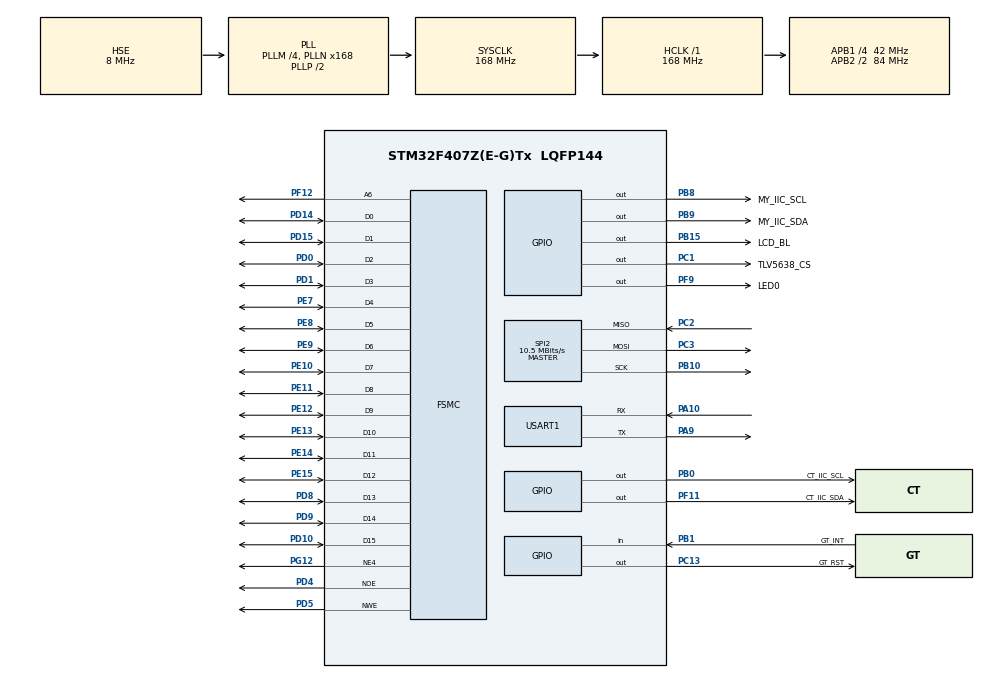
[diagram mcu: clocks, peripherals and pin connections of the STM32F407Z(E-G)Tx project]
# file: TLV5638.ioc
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FSMC.AddressSetupTime4=2
FSMC.DataSetupTime4=5
FSMC.ExtendedAddressSetupTime4=0
FSMC.ExtendedDataSetupTime4=3
FSMC.ExtendedMode4=FSMC_EXTENDED_MODE_ENABLE
Mcu.Family=STM32F4
Mcu.Name=STM32F407Z(E-G)Tx
Mcu.Package=LQFP144
NVIC.PriorityGroup=NVIC_PRIORITYGROUP_4
NVIC.TIM3_IRQn=true\:1\:0\:true\:false\:true\:true\:true
NVIC.TIM4_IRQn=true\:2\:0\:true\:false\:true\:true\:true
NVIC.TIM5_IRQn=true\:3\:0\:true\:false\:true\:true\:true
PA10.Mode=Asynchronous
PA10.Signal=USART1_RX
PA13.Mode=Serial_Wire
PA13.Signal=SYS_JTMS-SWDIO
PA14.Mode=Serial_Wire
PA14.Signal=SYS_JTCK-SWCLK
PA9.Mode=Asynchronous
PA9.Signal=USART1_TX
PB0.GPIO_Label=CT_IIC_SCL
PB0.GPIO_PuPd=GPIO_PULLUP
PB0.GPIO_Speed=GPIO_SPEED_FREQ_VERY_HIGH
PB0.PinState=GPIO_PIN_SET
PB0.Signal=GPIO_Output
PB1.GPIO_Label=GT_INT
PB1.GPIO_PuPd=GPIO_PULLUP
PB1.Signal=GPIO_Input
PB10.Mode=Full_Duplex_Master
PB10.Signal=SPI2_SCK
PB15.GPIO_Label=LCD_BL
PB15.Signal=GPIO_Output
PB8.GPIO_Label=MY_IIC_SCL
PB8.GPIO_PuPd=GPIO_PULLUP
PB8.GPIO_Speed=GPIO_SPEED_FREQ_HIGH
PB8.PinState=GPIO_PIN_SET
PB8.Signal=GPIO_Output
PB9.GPIO_Label=MY_IIC_SDA
PB9.GPIO_PuPd=GPIO_PULLUP
PB9.GPIO_Speed=GPIO_SPEED_FREQ_HIGH
PB9.PinState=GPIO_PIN_SET
PB9.Signal=GPIO_Output
PC1.GPIO_Label=TLV5638_CS
PC1.GPIO_PuPd=GPIO_PULLUP
PC1.GPIO_Speed=GPIO_SPEED_FREQ_VERY_HIGH
PC1.PinState=GPIO_PIN_SET
PC1.Signal=GPIO_Output
PC13-ANTI_TAMP.GPIO_Label=GT_RST
PC13-ANTI_TAMP.GPIO_PuPd=GPIO_PULLUP
PC13-ANTI_TAMP.GPIO_Speed=GPIO_SPEED_FREQ_LOW
PC13-ANTI_TAMP.PinState=GPIO_PIN_RESET
PC13-ANTI_TAMP.Signal=GPIO_Output
PC2.Mode=Full_Duplex_Master
PC2.Signal=SPI2_MISO
PC3.Mode=Full_Duplex_Master
PC3.Signal=SPI2_MOSI
PD0.Signal=FSMC_D2_DA2
PD1.Signal=FSMC_D3_DA3
PD10.Signal=FSMC_D15_DA15
PD14.Signal=FSMC_D0_DA0
PD15.Signal=FSMC_D1_DA1
PD4.Signal=FSMC_NOE
PD5.Signal=FSMC_NWE
PD8.Signal=FSMC_D13_DA13
PD9.Signal=FSMC_D14_DA14
PE10.Signal=FSMC_D7_DA7
PE11.Signal=FSMC_D8_DA8
PE12.Signal=FSMC_D9_DA9
PE13.Signal=FSMC_D10_DA10
PE14.Signal=FSMC_D11_DA11
PE15.Signal=FSMC_D12_DA12
PE7.Signal=FSMC_D4_DA4
PE8.Signal=FSMC_D5_DA5
PE9.Signal=FSMC_D6_DA6
PF11.GPIO_Label=CT_IIC_SDA
PF11.GPIO_ModeDefaultOutputPP=GPIO_MODE_OUTPUT_PP
PF11.GPIO_PuPd=GPIO_PULLUP
PF11.GPIO_Speed=GPIO_SPEED_FREQ_VERY_HIGH
PF11.PinState=GPIO_PIN_SET
PF11.Signal=GPIO_Output
PF12.Signal=FSMC_A6
PF9.GPIO_Label=LED0
PF9.PinState=GPIO_PIN_SET
PF9.Signal=GPIO_Output
PG12.Mode=NorPsramChipSelect4_4
PG12.Signal=FSMC_NE4
PH0-OSC_IN.Mode=HSE-External-Oscillator
PH0-OSC_IN.Signal=RCC_OSC_IN
PH1-OSC_OUT.Mode=HSE-External-Oscillator
PH1-OSC_OUT.Signal=RCC_OSC_OUT
ProjectManager.HeapSize=0x200
ProjectManager.StackSize=0x400
ProjectManager.TargetToolchain=SW4STM32
RCC.48MHZClocksFreq_Value=84000000
RCC.AHBFreq_Value=168000000
RCC.APB1CLKDivider=RCC_HCLK_DIV4
RCC.APB1Freq_Value=42000000
RCC.APB1TimFreq_Value=84000000
RCC.APB2CLKDivider=RCC_HCLK_DIV2
RCC.APB2Freq_Value=84000000
RCC.APB2TimFreq_Value=168000000
RCC.CortexFreq_Value=168000000
RCC.HCLKFreq_Value=168000000
RCC.HSE_VALUE=8000000
RCC.HSI_VALUE=16000000
RCC.LSE_VALUE=32768
RCC.PLLM=4
RCC.PLLN=168
RCC.PLLSourceVirtual=RCC_PLLSOURCE_HSE
RCC.SYSCLKFreq_VALUE=168000000
RCC.SYSCLKSource=RCC_SYSCLKSOURCE_PLLCLK
RCC.VCOOutputFreq_Value=336000000
SH.FSMC_A6.0=FSMC_A6,A6_4
SH.FSMC_D0_DA0.0=FSMC_D0,16b-d4
SH.FSMC_D10_DA10.0=FSMC_D10,16b-d4
SH.FSMC_D11_DA11.0=FSMC_D11,16b-d4
SH.FSMC_D12_DA12.0=FSMC_D12,16b-d4
SH.FSMC_D13_DA13.0=FSMC_D13,16b-d4
SH.FSMC_D14_DA14.0=FSMC_D14,16b-d4
SH.FSMC_D15_DA15.0=FSMC_D15,16b-d4
SH.FSMC_D1_DA1.0=FSMC_D1,16b-d4
SH.FSMC_D2_DA2.0=FSMC_D2,16b-d4
SH.FSMC_D3_DA3.0=FSMC_D3,16b-d4
SH.FSMC_D4_DA4.0=FSMC_D4,16b-d4
SH.FSMC_D5_DA5.0=FSMC_D5,16b-d4
SH.FSMC_D6_DA6.0=FSMC_D6,16b-d4
SH.FSMC_D7_DA7.0=FSMC_D7,16b-d4
SH.FSMC_D8_DA8.0=FSMC_D8,16b-d4
SH.FSMC_D9_DA9.0=FSMC_D9,16b-d4
SH.FSMC_NOE.0=FSMC_NOE,Lcd4
SH.FSMC_NWE.0=FSMC_NWE,Lcd4
SPI2.BaudRatePrescaler=SPI_BAUDRATEPRESCALER_4
SPI2.CLKPhase=SPI_PHASE_2EDGE
SPI2.CalculateBaudRate=10.5 MBits/s
SPI2.Direction=SPI_DIRECTION_2LINES
SPI2.Mode=SPI_MODE_MASTER
SPI2.VirtualType=VM_MASTER
TIM3.AutoReloadPreload=TIM_AUTORELOAD_PRELOAD_ENABLE
TIM3.Period=999
TIM3.Prescaler=83
TIM4.AutoReloadPreload=TIM_AUTORELOAD_PRELOAD_ENABLE
TIM4.Period=999
TIM4.Prescaler=839
TIM5.AutoReloadPreload=TIM_AUTORELOAD_PRELOAD_ENABLE
TIM5.Period=8399
TIM5.Prescaler=4999
USART1.VirtualMode=VM_ASYNC
VP_CRC_VS_CRC.Mode=CRC_Activate
VP_TIM3_VS_ClockSourceINT.Mode=Internal
VP_TIM4_VS_ClockSourceINT.Mode=Internal
VP_TIM5_VS_ClockSourceINT.Mode=Internal
board=custom

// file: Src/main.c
/* USER CODE BEGIN Header */
/**
  ******************************************************************************
  * @file           : main.c
  * @brief          : Main program body
  ******************************************************************************
  * @attention
  *
  * <h2><center>&copy; Copyright (c) 2020 STMicroelectronics.
  * All rights reserved.</center></h2>
  *
  * This software component is licensed by ST under BSD 3-Clause license,
  * the "License"; You may not use this file except in compliance with the
  * License. You may obtain a copy of the License at:
  *                        opensource.org/licenses/BSD-3-Clause
  *
  ******************************************************************************
  */
/* USER CODE END Header */
#include "main.h"
#include "crc.h"
#include "spi.h"
#include "tim.h"
#include "usart.h"
#include "gpio.h"
#include "fsmc.h"

/* USER CODE BEGIN Includes */
#include <stdio.h>
#include "retarget.h"
#include "ILI93xx.h"
#include "GUI.h"
#include "touch.h"
#include "emwinDemo.h"
#include "DIALOG.h"
#include "TLV5638.h"
#include <math.h>
/* USER CODE END Includes */

/* USER CODE BEGIN PD */
#define PI 3.1415926
/* USER CODE END PD */

/* USER CODE BEGIN PV */
uint16_t SineWave_Value[256];
/* USER CODE END PV */

void SystemClock_Config(void);

/* USER CODE BEGIN 0 */
/**
 * @brief    生成正弦波数据表
 * @param    cycle 位数
 * @param    D 生成到的数组
 * @param    Um 峰值
 * @retval   none
*/
void SineWave_Data(uint16_t cycle, uint16_t *D, float Um)
{
    for(uint16_t i = 0; i < cycle; i++)
    {
        D[i] = (uint16_t)((Um*sin((1.0*i/(cycle-1))*2*PI)+Um)*4095/4.096);
    }
}
/* USER CODE END 0 */

int main(void)
{

  /* MCU Configuration--------------------------------------------------------*/

  /* Reset of all peripherals, Initializes the Flash interface and the Systick. */
  HAL_Init();

  /* Configure the system clock */
  SystemClock_Config();

  /* Initialize all configured peripherals */
  MX_GPIO_Init();
  MX_USART1_UART_Init();
  MX_FSMC_Init();
  MX_CRC_Init();
  MX_TIM4_Init();
  MX_TIM5_Init();
  MX_TIM3_Init();
  MX_SPI2_Init();
  /* USER CODE BEGIN 2 */
    RetargetInit(&huart1);
    TFTLCD_Init();
    TP_Init();

    TLV5638_init();

//    SineWave_Data(256, SineWave_Value,2);//正弦波输出

    WM_SetCreateFlags(WM_CF_MEMDEV);
    GUI_Init();

    HAL_TIM_Base_Start_IT(&htim3);
    HAL_TIM_Base_Start_IT(&htim4);
    HAL_TIM_Base_Start_IT(&htim5);

    emwinDemo();

  /* USER CODE END 2 */

  /* Infinite loop */
  while (1)
  {

    /* USER CODE BEGIN 3 */

//      for (int i = 0; i < 256; ++i)
//      {
//          TLV5638_set(SineWave_Value[i], SineWave_Value[i]);
//          GUI_Delay(1);
//      }

//      GUI_Delay(1);
  }
  /* USER CODE END 3 */
}

void SystemClock_Config(void)
{
  RCC_OscInitTypeDef RCC_OscInitStruct = {0};
  RCC_ClkInitTypeDef RCC_ClkInitStruct = {0};

  /** Configure the main internal regulator output voltage
  */
  __HAL_RCC_PWR_CLK_ENABLE();
  __HAL_PWR_VOLTAGESCALING_CONFIG(PWR_REGULATOR_VOLTAGE_SCALE1);
  /** Initializes the RCC Oscillators according to the specified parameters
  * in the RCC_OscInitTypeDef structure.
  */
  RCC_OscInitStruct.OscillatorType = RCC_OSCILLATORTYPE_HSE;
  RCC_OscInitStruct.HSEState = RCC_HSE_ON;
  RCC_OscInitStruct.PLL.PLLState = RCC_PLL_ON;
  RCC_OscInitStruct.PLL.PLLSource = RCC_PLLSOURCE_HSE;
  RCC_OscInitStruct.PLL.PLLM = 4;
  RCC_OscInitStruct.PLL.PLLN = 168;
  RCC_OscInitStruct.PLL.PLLP = RCC_PLLP_DIV2;
  RCC_OscInitStruct.PLL.PLLQ = 4;
  if (HAL_RCC_OscConfig(&RCC_OscInitStruct) != HAL_OK)
  {
    Error_Handler();
  }
  /** Initializes the CPU, AHB and APB buses clocks
  */
  RCC_ClkInitStruct.ClockType = RCC_CLOCKTYPE_HCLK|RCC_CLOCKTYPE_SYSCLK
                              |RCC_CLOCKTYPE_PCLK1|RCC_CLOCKTYPE_PCLK2;
  RCC_ClkInitStruct.SYSCLKSource = RCC_SYSCLKSOURCE_PLLCLK;
  RCC_ClkInitStruct.AHBCLKDivider = RCC_SYSCLK_DIV1;
  RCC_ClkInitStruct.APB1CLKDivider = RCC_HCLK_DIV4;
  RCC_ClkInitStruct.APB2CLKDivider = RCC_HCLK_DIV2;

  if (HAL_RCC_ClockConfig(&RCC_ClkInitStruct, FLASH_LATENCY_5) != HAL_OK)
  {
    Error_Handler();
  }
}

void Error_Handler(void)
{
}

/************************ (C) COPYRIGHT STMicroelectronics *****END OF FILE****/
